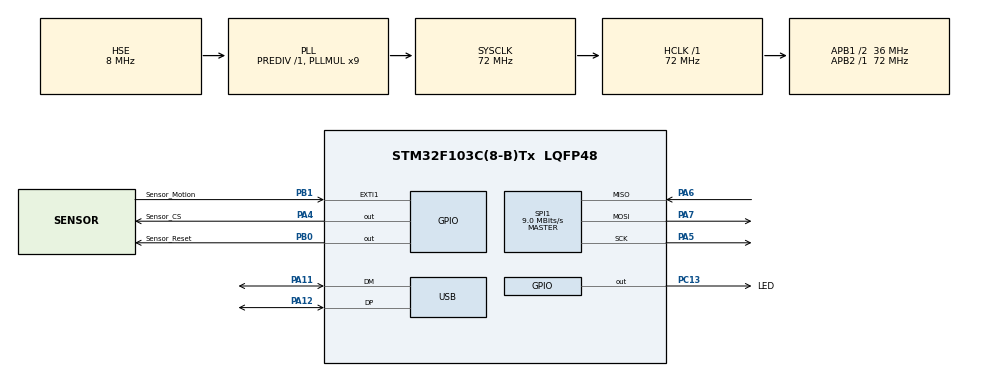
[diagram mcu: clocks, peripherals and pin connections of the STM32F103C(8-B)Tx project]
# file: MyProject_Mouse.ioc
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Mcu.Family=STM32F1
Mcu.Name=STM32F103C(8-B)Tx
Mcu.Package=LQFP48
NVIC.EXTI1_IRQn=true\:1\:0\:true\:false\:true\:true\:true\:true
NVIC.PriorityGroup=NVIC_PRIORITYGROUP_4
NVIC.USB_LP_CAN1_RX0_IRQn=true\:0\:0\:false\:false\:true\:false\:true\:true
PA11.Mode=Device
PA11.Signal=USB_DM
PA12.Mode=Device
PA12.Signal=USB_DP
PA13.Mode=Serial_Wire
PA13.Signal=SYS_JTMS-SWDIO
PA14.Mode=Serial_Wire
PA14.Signal=SYS_JTCK-SWCLK
PA4.GPIO_Label=Sensor_CS
PA4.GPIO_Speed=GPIO_SPEED_FREQ_HIGH
PA4.PinState=GPIO_PIN_SET
PA4.Signal=GPIO_Output
PA5.Mode=Full_Duplex_Master
PA5.Signal=SPI1_SCK
PA6.Mode=Full_Duplex_Master
PA6.Signal=SPI1_MISO
PA7.Mode=Full_Duplex_Master
PA7.Signal=SPI1_MOSI
PB0.GPIO_Label=Sensor_Reset
PB0.PinState=GPIO_PIN_SET
PB0.Signal=GPIO_Output
PB1.GPIO_Label=Sensor_Motion
PB1.GPIO_ModeDefaultEXTI=GPIO_MODE_IT_FALLING
PB1.GPIO_PuPd=GPIO_PULLUP
PB1.Signal=GPXTI1
PC13-TAMPER-RTC.GPIO_Label=LED
PC13-TAMPER-RTC.PinState=GPIO_PIN_SET
PC13-TAMPER-RTC.Signal=GPIO_Output
PD0-OSC_IN.Mode=HSE-External-Oscillator
PD0-OSC_IN.Signal=RCC_OSC_IN
PD1-OSC_OUT.Mode=HSE-External-Oscillator
PD1-OSC_OUT.Signal=RCC_OSC_OUT
ProjectManager.HeapSize=0x200
ProjectManager.StackSize=0x400
ProjectManager.TargetToolchain=MDK-ARM V5.32
RCC.AHBFreq_Value=72000000
RCC.APB1CLKDivider=RCC_HCLK_DIV2
RCC.APB1Freq_Value=36000000
RCC.APB1TimFreq_Value=72000000
RCC.APB2Freq_Value=72000000
RCC.APB2TimFreq_Value=72000000
RCC.HCLKFreq_Value=72000000
RCC.PLLMUL=RCC_PLL_MUL9
RCC.PLLSourceVirtual=RCC_PLLSOURCE_HSE
RCC.SYSCLKFreq_VALUE=72000000
RCC.SYSCLKSource=RCC_SYSCLKSOURCE_PLLCLK
RCC.USBFreq_Value=48000000
RCC.USBPrescaler=RCC_USBCLKSOURCE_PLL_DIV1_5
SPI1.BaudRatePrescaler=SPI_BAUDRATEPRESCALER_8
SPI1.CLKPhase=SPI_PHASE_2EDGE
SPI1.CLKPolarity=SPI_POLARITY_HIGH
SPI1.CalculateBaudRate=9.0 MBits/s
SPI1.Direction=SPI_DIRECTION_2LINES
SPI1.Mode=SPI_MODE_MASTER
SPI1.VirtualType=VM_MASTER
USB_DEVICE.CLASS_NAME_FS=HID
USB_DEVICE.HID_FS_BINTERVAL=0x1
USB_DEVICE.VirtualMode=Hid
USB_DEVICE.VirtualModeFS=Hid_FS
VP_USB_DEVICE_VS_USB_DEVICE_HID_FS.Mode=HID_FS
board=custom

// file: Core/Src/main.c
/* USER CODE BEGIN Header */
/**
  ******************************************************************************
  * @file           : main.c
  * @brief          : Main program body
  ******************************************************************************
  * @attention
  *
  * Copyright (c) 2026 STMicroelectronics.
  * All rights reserved.
  *
  * This software is licensed under terms that can be found in the LICENSE file
  * in the root directory of this software component.
  * If no LICENSE file comes with this software, it is provided AS-IS.
  *
  ******************************************************************************
  */
/* USER CODE END Header */
#include "main.h"
#include "spi.h"
#include "usb_device.h"
#include "gpio.h"

/* USER CODE BEGIN Includes */
#include "user_config.h"
#include "scheduler.h"
/* 本文件日志标签：必须在 elog.h 之前定义，log_a/e/w/i/d/v 会自动带上它；
 * 其他 .c 文件要打日志时，同样在 include elog.h 之前定义各自的 LOG_TAG */
#define LOG_TAG     "main"
#include <elog.h>
#include "SEGGER_RTT.h"   /* Error_Handler 里 elog 可能未初始化，需裸写 RTT */

#include "usb_data_send.h"
#include "sensor.h"
#include "delay.h"
#include "profile.h"
/* USER CODE END Includes */

/* USER CODE BEGIN PD */
/* LED 翻转间隔(ms)：亮、灭各占一个间隔，完整闪烁周期是它的 2 倍 */
#define LED_BLINK_INTERVAL_MS 500U

/* 日志前缀格式（elog_set_fmt 用）：不带 [ ] 时间/进程/线程外壳 */
#define LOG_FMT_WITH_LINE (ELOG_FMT_LVL | ELOG_FMT_TAG | ELOG_FMT_LINE)  /* A/E/D/V：级别+标签+行号 */
#define LOG_FMT_SHORT     (ELOG_FMT_LVL | ELOG_FMT_TAG)                  /* I/W：仅级别+标签 */
/* USER CODE END PD */

void SystemClock_Config(void);

/* USER CODE BEGIN 0 */

#if SELF_TEST_LOG
/**
 * @brief 日志链路自检：逐级输出一行，覆盖全部 5 个日志级别
 *
 * 开机调用一次，RTT Viewer 里 6 行全可见（含配色）说明 RTT+EasyLogger 链路正常；
 * 由 APP/user_config.h 的 SELF_TEST_LOG 控制是否编译。
 */
static void log_self_test(void)
{
  log_v("boot: RTT + EasyLogger chain test start");
  log_d("SYSCLK=72MHz (HSE 8M x PLL9), APB1=36MHz");
  log_i("EasyLogger -> SEGGER RTT ch0");
  log_w("WARN level sample: lvl+tag prefix only");
  log_e("ERROR level sample: full-field prefix");
  log_a("ASSERT level sample: all 5 levels visible means RTT OK");
}
#endif

/**
 * @brief 初始化 EasyLogger 日志框架（输出后端为 SEGGER RTT 通道 0，见 elog_port.c）
 *
 * 各级别的输出格式：A/E/D/V 带行号，I/W 仅级别+标签；各级都不带 [ ] 时间/进程/线程
 * 外壳——定位问题靠行号，行号在 Keil 里可直接跳转
 */
static void app_log_init(void)
{
    elog_init();

    /* 各级别日志输出格式 */
    elog_set_fmt(ELOG_LVL_ASSERT,  LOG_FMT_WITH_LINE);
    elog_set_fmt(ELOG_LVL_ERROR,   LOG_FMT_WITH_LINE);
    elog_set_fmt(ELOG_LVL_WARN,    LOG_FMT_SHORT);
    elog_set_fmt(ELOG_LVL_INFO,    LOG_FMT_SHORT);
    elog_set_fmt(ELOG_LVL_DEBUG,   LOG_FMT_WITH_LINE);
    elog_set_fmt(ELOG_LVL_VERBOSE, LOG_FMT_WITH_LINE);
    elog_start();

    #if SELF_TEST_LOG
    log_self_test();
    #endif
}

#if LED_PC13_TOGGLE_TEST
/**
 * @brief PC13 LED 闪烁任务：翻转一次 PC13 电平
 *
 * 由调度器每 LED_BLINK_INTERVAL_MS 毫秒调用一次（亮、灭各占一个间隔）；
 * 主循环里还有其他任务要跑，任务内禁止延时。
 */
static void led_blink_task(void)
{
  HAL_GPIO_TogglePin(LED_GPIO_Port, LED_Pin);
}
#endif

/* USER CODE END 0 */

int main(void)
{

  /* MCU Configuration--------------------------------------------------------*/

  /* Reset of all peripherals, Initializes the Flash interface and the Systick. */
  HAL_Init();

  /* Configure the system clock */
  SystemClock_Config();

  /* Initialize all configured peripherals */
  MX_GPIO_Init();
  MX_USB_DEVICE_Init();
  MX_SPI1_Init();
  /* USER CODE BEGIN 2 */
  delay_init();
  app_log_init();
  scheduler_reset();                    /* 清空任务表，主循环启动前只调一次 */
  if (sensor_paw_3395_init() == false)
  {
    #if SENSOR_INIT_DEBUG
    log_e("sensor init failed, mouse degraded to keys/wheel only");
    #endif
  }
  mouse_param_init();
  #if LED_PC13_TOGGLE_TEST
  scheduler_register(led_blink_task, LED_BLINK_INTERVAL_MS);
  #endif
  scheduler_register(sensor_motion_task, 1);
  scheduler_register(mouse_report_task, 1);
  /* USER CODE END 2 */

  /* Infinite loop */
  while (1)
  {

    /* USER CODE BEGIN 3 */
    scheduler_run();                    /* 轮询执行到期的调度器任务 */
  }
  /* USER CODE END 3 */
}

void SystemClock_Config(void)
{
  RCC_OscInitTypeDef RCC_OscInitStruct = {0};
  RCC_ClkInitTypeDef RCC_ClkInitStruct = {0};
  RCC_PeriphCLKInitTypeDef PeriphClkInit = {0};

  /** Initializes the RCC Oscillators according to the specified parameters
  * in the RCC_OscInitTypeDef structure.
  */
  RCC_OscInitStruct.OscillatorType = RCC_OSCILLATORTYPE_HSE;
  RCC_OscInitStruct.HSEState = RCC_HSE_ON;
  RCC_OscInitStruct.HSEPredivValue = RCC_HSE_PREDIV_DIV1;
  RCC_OscInitStruct.HSIState = RCC_HSI_ON;
  RCC_OscInitStruct.PLL.PLLState = RCC_PLL_ON;
  RCC_OscInitStruct.PLL.PLLSource = RCC_PLLSOURCE_HSE;
  RCC_OscInitStruct.PLL.PLLMUL = RCC_PLL_MUL9;
  if (HAL_RCC_OscConfig(&RCC_OscInitStruct) != HAL_OK)
  {
    Error_Handler();
  }

  /** Initializes the CPU, AHB and APB buses clocks
  */
  RCC_ClkInitStruct.ClockType = RCC_CLOCKTYPE_HCLK|RCC_CLOCKTYPE_SYSCLK
                              |RCC_CLOCKTYPE_PCLK1|RCC_CLOCKTYPE_PCLK2;
  RCC_ClkInitStruct.SYSCLKSource = RCC_SYSCLKSOURCE_PLLCLK;
  RCC_ClkInitStruct.AHBCLKDivider = RCC_SYSCLK_DIV1;
  RCC_ClkInitStruct.APB1CLKDivider = RCC_HCLK_DIV2;
  RCC_ClkInitStruct.APB2CLKDivider = RCC_HCLK_DIV1;

  if (HAL_RCC_ClockConfig(&RCC_ClkInitStruct, FLASH_LATENCY_2) != HAL_OK)
  {
    Error_Handler();
  }
  PeriphClkInit.PeriphClockSelection = RCC_PERIPHCLK_USB;
  PeriphClkInit.UsbClockSelection = RCC_USBCLKSOURCE_PLL_DIV1_5;
  if (HAL_RCCEx_PeriphCLKConfig(&PeriphClkInit) != HAL_OK)
  {
    Error_Handler();
  }
}

void Error_Handler(void)
{
  /* USER CODE BEGIN Error_Handler_Debug */
  SEGGER_RTT_WriteString(0, "E/HAL: Error_Handler entered, clock/periph init failed\n");
  __disable_irq();
  while (1)
  {
  }
  /* USER CODE END Error_Handler_Debug */
}
